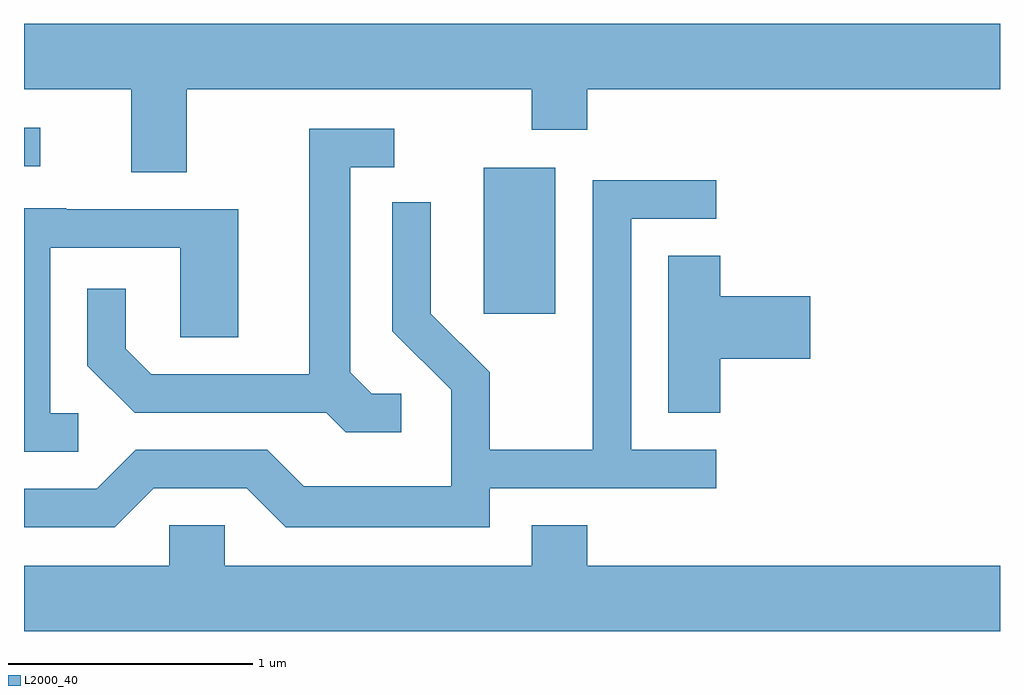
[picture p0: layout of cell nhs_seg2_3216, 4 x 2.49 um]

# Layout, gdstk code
import gdstk
lib = gdstk.Library(unit=1e-6, precision=1e-09)
def R(c, l, rs):  # rectangles x0, y0, x1, y1
    for r in rs: c.add(gdstk.rectangle(r[:2], r[2:], *l))
def P(c, l, *ps):  # polygons
    for p in ps: c.add(gdstk.Polygon(p, *l))
L2000_40 = (2000, 40)

nhs_seg2_3216 = lib.new_cell('nhs_seg2_3216')
R(nhs_seg2_3216, L2000_40, [(281.496,1031.856,281.789,1032.454), (279.611,1032.461,279.678,1032.619)])
P(nhs_seg2_3216, L2000_40, [(280.279,1032.776),(281.691,1032.776),(281.691,1032.611),(281.919,1032.611),(281.919,1032.776),(283.611,1032.776),(283.611,1033.044),(279.611,1033.044),(279.611,1032.776),(280.051,1032.776),(280.051,1032.436),(280.279,1032.436)],
  [(281.158,1031.529),(281.037,1031.529),(280.949,1031.617),(280.949,1032.456),(281.128,1032.456),(281.128,1032.614),(280.781,1032.614),(280.781,1031.609),(280.132,1031.609),(280.029,1031.712),(280.029,1031.958),(279.871,1031.958),(279.871,1031.644),(280.064,1031.451),(280.849,1031.451),(280.929,1031.371),(281.158,1031.371)],
  [(280.142,1031.141),(280.524,1031.141),(280.684,1030.981),(281.519,1030.981),(281.519,1031.141),(282.448,1031.141),(282.448,1031.299),(282.099,1031.299),(282.099,1032.246),(282.448,1032.246),(282.448,1032.404),(281.941,1032.404),(281.941,1031.299),(281.519,1031.299),(281.519,1031.617),(281.279,1031.857),(281.279,1032.313),(281.121,1032.313),(281.121,1031.784),(281.361,1031.544),(281.361,1031.149),(280.757,1031.149),(280.607,1031.299),(280.069,1031.299),(279.909,1031.139),(279.611,1031.139),(279.611,1030.981),(279.982,1030.981)],
  [(279.833,1031.449),(279.719,1031.449),(279.719,1032.126),(280.251,1032.126),(280.251,1031.761),(280.489,1031.761),(280.489,1032.284),(279.785,1032.284),(279.785,1032.289),(279.611,1032.289),(279.611,1031.291),(279.833,1031.291)],
  [(282.464,1031.671),(282.834,1031.671),(282.834,1031.929),(282.464,1031.929),(282.464,1032.094),(282.251,1032.094),(282.251,1031.451),(282.464,1031.451)],
  [(283.611,1030.824),(281.919,1030.824),(281.919,1030.989),(281.691,1030.989),(281.691,1030.824),(280.434,1030.824),(280.434,1030.989),(280.206,1030.989),(280.206,1030.824),(279.611,1030.824),(279.611,1030.556),(283.611,1030.556)])

lib.write_gds('nhs_seg2_3216.gds')
